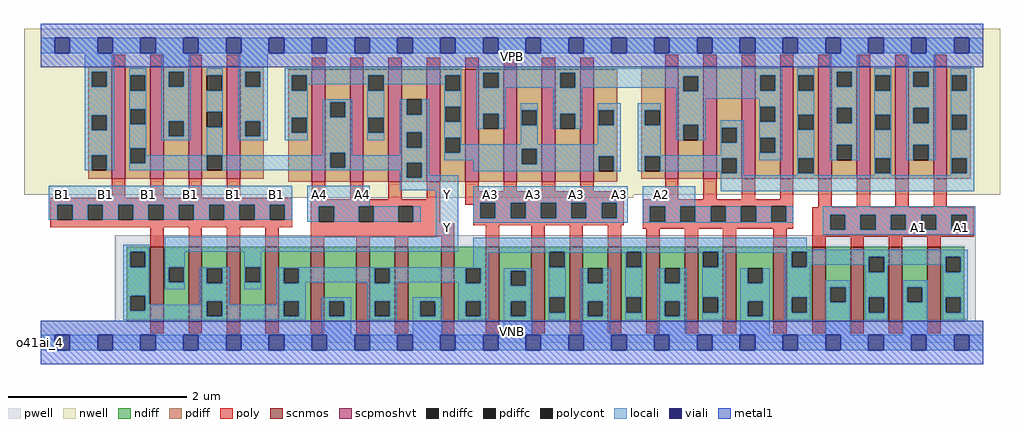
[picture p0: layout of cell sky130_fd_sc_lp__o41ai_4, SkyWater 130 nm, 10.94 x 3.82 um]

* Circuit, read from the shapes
.subckt sky130_fd_sc_lp__o41ai_4 A1 A2 A3 A4 B1 VGND VNB VPB VPWR Y
XM1 Y B1 n1 VNB sky130_fd_pr__nfet_01v8 w=0.84 l=0.15 m=4
XM2 VGND A4 n1 VNB sky130_fd_pr__nfet_01v8 w=0.84 l=0.15 m=4
XM3 VGND A3 n1 VNB sky130_fd_pr__nfet_01v8 w=0.84 l=0.15 m=4
XM4 VGND A2 n1 VNB sky130_fd_pr__nfet_01v8 w=0.84 l=0.15 m=4
XM5 VGND A1 n1 VNB sky130_fd_pr__nfet_01v8 w=0.84 l=0.15 m=4
XM6 Y B1 VPWR VPB sky130_fd_pr__pfet_01v8_hvt w=1.26 l=0.15 m=4
XM7 Y A4 n2 VPB sky130_fd_pr__pfet_01v8_hvt w=1.26 l=0.15 m=4
XM8 n3 A3 n2 VPB sky130_fd_pr__pfet_01v8_hvt w=1.26 l=0.15 m=4
XM9 n3 A2 n4 VPB sky130_fd_pr__pfet_01v8_hvt w=1.26 l=0.15 m=4
XM10 VPWR A1 n4 VPB sky130_fd_pr__pfet_01v8_hvt w=1.26 l=0.15 m=4
.ends

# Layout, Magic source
magic
tech sky130A
magscale 1 2
<< nwell >>
rect -38 331 2150 704
rect 518 325 1328 331
<< pwell >>
rect 166 49 2096 241
rect 0 0 2112 49
<< scnmos >>
rect 245 47 275 215
rect 331 47 361 215
rect 417 47 447 215
rect 503 47 533 215
rect 605 47 635 215
rect 707 47 737 215
rect 793 47 823 215
rect 897 47 927 215
rect 997 47 1027 215
rect 1099 47 1129 215
rect 1185 47 1215 215
rect 1271 47 1301 215
rect 1357 47 1387 215
rect 1443 47 1473 215
rect 1529 47 1559 215
rect 1642 47 1672 215
rect 1729 47 1759 215
rect 1815 47 1845 215
rect 1901 47 1931 215
rect 1987 47 2017 215
<< scpmoshvt >>
rect 159 367 189 619
rect 245 367 275 619
rect 331 367 361 619
rect 417 367 447 619
rect 607 361 637 613
rect 693 361 723 613
rect 779 361 809 613
rect 865 361 895 613
rect 951 361 981 613
rect 1037 361 1067 613
rect 1123 361 1153 613
rect 1209 361 1239 613
rect 1399 367 1429 619
rect 1485 367 1515 619
rect 1571 367 1601 619
rect 1657 367 1687 619
rect 1743 367 1773 619
rect 1829 367 1859 619
rect 1915 367 1945 619
rect 2001 367 2031 619
<< ndiff >>
rect 192 203 245 215
rect 192 169 200 203
rect 234 169 245 203
rect 192 105 245 169
rect 192 71 200 105
rect 234 71 245 105
rect 192 47 245 71
rect 275 169 331 215
rect 275 135 286 169
rect 320 135 331 169
rect 275 47 331 135
rect 361 167 417 215
rect 361 133 372 167
rect 406 133 417 167
rect 361 93 417 133
rect 361 59 372 93
rect 406 59 417 93
rect 361 47 417 59
rect 447 169 503 215
rect 447 135 458 169
rect 492 135 503 169
rect 447 47 503 135
rect 533 167 605 215
rect 533 133 544 167
rect 578 133 605 167
rect 533 93 605 133
rect 533 59 544 93
rect 578 59 605 93
rect 533 47 605 59
rect 635 93 707 215
rect 635 59 646 93
rect 680 59 707 93
rect 635 47 707 59
rect 737 167 793 215
rect 737 133 748 167
rect 782 133 793 167
rect 737 93 793 133
rect 737 59 748 93
rect 782 59 793 93
rect 737 47 793 59
rect 823 93 897 215
rect 823 59 850 93
rect 884 59 897 93
rect 823 47 897 59
rect 927 167 997 215
rect 927 133 952 167
rect 986 133 997 167
rect 927 93 997 133
rect 927 59 952 93
rect 986 59 997 93
rect 927 47 997 59
rect 1027 161 1099 215
rect 1027 127 1053 161
rect 1087 127 1099 161
rect 1027 93 1099 127
rect 1027 59 1053 93
rect 1087 59 1099 93
rect 1027 47 1099 59
rect 1129 203 1185 215
rect 1129 169 1140 203
rect 1174 169 1185 203
rect 1129 101 1185 169
rect 1129 67 1140 101
rect 1174 67 1185 101
rect 1129 47 1185 67
rect 1215 167 1271 215
rect 1215 133 1226 167
rect 1260 133 1271 167
rect 1215 93 1271 133
rect 1215 59 1226 93
rect 1260 59 1271 93
rect 1215 47 1271 59
rect 1301 203 1357 215
rect 1301 169 1312 203
rect 1346 169 1357 203
rect 1301 101 1357 169
rect 1301 67 1312 101
rect 1346 67 1357 101
rect 1301 47 1357 67
rect 1387 167 1443 215
rect 1387 133 1398 167
rect 1432 133 1443 167
rect 1387 93 1443 133
rect 1387 59 1398 93
rect 1432 59 1443 93
rect 1387 47 1443 59
rect 1473 203 1529 215
rect 1473 169 1484 203
rect 1518 169 1529 203
rect 1473 101 1529 169
rect 1473 67 1484 101
rect 1518 67 1529 101
rect 1473 47 1529 67
rect 1559 167 1642 215
rect 1559 133 1584 167
rect 1618 133 1642 167
rect 1559 93 1642 133
rect 1559 59 1584 93
rect 1618 59 1642 93
rect 1559 47 1642 59
rect 1672 203 1729 215
rect 1672 169 1683 203
rect 1717 169 1729 203
rect 1672 101 1729 169
rect 1672 67 1683 101
rect 1717 67 1729 101
rect 1672 47 1729 67
rect 1759 124 1815 215
rect 1759 90 1770 124
rect 1804 90 1815 124
rect 1759 47 1815 90
rect 1845 192 1901 215
rect 1845 158 1856 192
rect 1890 158 1901 192
rect 1845 101 1901 158
rect 1845 67 1856 101
rect 1890 67 1901 101
rect 1845 47 1901 67
rect 1931 124 1987 215
rect 1931 90 1942 124
rect 1976 90 1987 124
rect 1931 47 1987 90
rect 2017 192 2070 215
rect 2017 158 2028 192
rect 2062 158 2070 192
rect 2017 101 2070 158
rect 2017 67 2028 101
rect 2062 67 2070 101
rect 2017 47 2070 67
<< pdiff >>
rect 106 607 159 619
rect 106 573 114 607
rect 148 573 159 607
rect 106 510 159 573
rect 106 476 114 510
rect 148 476 159 510
rect 106 420 159 476
rect 106 386 114 420
rect 148 386 159 420
rect 106 367 159 386
rect 189 599 245 619
rect 189 565 200 599
rect 234 565 245 599
rect 189 523 245 565
rect 189 489 200 523
rect 234 489 245 523
rect 189 436 245 489
rect 189 402 200 436
rect 234 402 245 436
rect 189 367 245 402
rect 275 607 331 619
rect 275 573 286 607
rect 320 573 331 607
rect 275 496 331 573
rect 275 462 286 496
rect 320 462 331 496
rect 275 367 331 462
rect 361 599 417 619
rect 361 565 372 599
rect 406 565 417 599
rect 361 517 417 565
rect 361 483 372 517
rect 406 483 417 517
rect 361 420 417 483
rect 361 386 372 420
rect 406 386 417 420
rect 361 367 417 386
rect 447 607 500 619
rect 447 573 458 607
rect 492 573 500 607
rect 447 496 500 573
rect 447 462 458 496
rect 492 462 500 496
rect 447 367 500 462
rect 554 599 607 613
rect 554 565 562 599
rect 596 565 607 599
rect 554 504 607 565
rect 554 470 562 504
rect 596 470 607 504
rect 554 361 607 470
rect 637 539 693 613
rect 637 505 648 539
rect 682 505 693 539
rect 637 426 693 505
rect 637 392 648 426
rect 682 392 693 426
rect 637 361 693 392
rect 723 599 779 613
rect 723 565 734 599
rect 768 565 779 599
rect 723 504 779 565
rect 723 470 734 504
rect 768 470 779 504
rect 723 361 779 470
rect 809 545 865 613
rect 809 511 820 545
rect 854 511 865 545
rect 809 471 865 511
rect 809 437 820 471
rect 854 437 865 471
rect 809 403 865 437
rect 809 369 820 403
rect 854 369 865 403
rect 809 361 865 369
rect 895 599 951 613
rect 895 565 906 599
rect 940 565 951 599
rect 895 529 951 565
rect 895 495 906 529
rect 940 495 951 529
rect 895 459 951 495
rect 895 425 906 459
rect 940 425 951 459
rect 895 361 951 425
rect 981 605 1037 613
rect 981 571 992 605
rect 1026 571 1037 605
rect 981 513 1037 571
rect 981 479 992 513
rect 1026 479 1037 513
rect 981 361 1037 479
rect 1067 521 1123 613
rect 1067 487 1078 521
rect 1112 487 1123 521
rect 1067 434 1123 487
rect 1067 400 1078 434
rect 1112 400 1123 434
rect 1067 361 1123 400
rect 1153 605 1209 613
rect 1153 571 1164 605
rect 1198 571 1209 605
rect 1153 513 1209 571
rect 1153 479 1164 513
rect 1198 479 1209 513
rect 1153 361 1209 479
rect 1239 521 1292 613
rect 1239 487 1250 521
rect 1284 487 1292 521
rect 1239 418 1292 487
rect 1239 384 1250 418
rect 1284 384 1292 418
rect 1239 361 1292 384
rect 1346 521 1399 619
rect 1346 487 1354 521
rect 1388 487 1399 521
rect 1346 418 1399 487
rect 1346 384 1354 418
rect 1388 384 1399 418
rect 1346 367 1399 384
rect 1429 597 1485 619
rect 1429 563 1440 597
rect 1474 563 1485 597
rect 1429 488 1485 563
rect 1429 454 1440 488
rect 1474 454 1485 488
rect 1429 367 1485 454
rect 1515 482 1571 619
rect 1515 448 1526 482
rect 1560 448 1571 482
rect 1515 413 1571 448
rect 1515 379 1526 413
rect 1560 379 1571 413
rect 1515 367 1571 379
rect 1601 599 1657 619
rect 1601 565 1612 599
rect 1646 565 1657 599
rect 1601 529 1657 565
rect 1601 495 1612 529
rect 1646 495 1657 529
rect 1601 459 1657 495
rect 1601 425 1612 459
rect 1646 425 1657 459
rect 1601 367 1657 425
rect 1687 599 1743 619
rect 1687 565 1698 599
rect 1732 565 1743 599
rect 1687 511 1743 565
rect 1687 477 1698 511
rect 1732 477 1743 511
rect 1687 413 1743 477
rect 1687 379 1698 413
rect 1732 379 1743 413
rect 1687 367 1743 379
rect 1773 607 1829 619
rect 1773 573 1784 607
rect 1818 573 1829 607
rect 1773 526 1829 573
rect 1773 492 1784 526
rect 1818 492 1829 526
rect 1773 443 1829 492
rect 1773 409 1784 443
rect 1818 409 1829 443
rect 1773 367 1829 409
rect 1859 599 1915 619
rect 1859 565 1870 599
rect 1904 565 1915 599
rect 1859 511 1915 565
rect 1859 477 1870 511
rect 1904 477 1915 511
rect 1859 413 1915 477
rect 1859 379 1870 413
rect 1904 379 1915 413
rect 1859 367 1915 379
rect 1945 607 2001 619
rect 1945 573 1956 607
rect 1990 573 2001 607
rect 1945 526 2001 573
rect 1945 492 1956 526
rect 1990 492 2001 526
rect 1945 443 2001 492
rect 1945 409 1956 443
rect 1990 409 2001 443
rect 1945 367 2001 409
rect 2031 599 2084 619
rect 2031 565 2042 599
rect 2076 565 2084 599
rect 2031 511 2084 565
rect 2031 477 2042 511
rect 2076 477 2084 511
rect 2031 413 2084 477
rect 2031 379 2042 413
rect 2076 379 2084 413
rect 2031 367 2084 379
<< ndiffc >>
rect 200 169 234 203
rect 200 71 234 105
rect 286 135 320 169
rect 372 133 406 167
rect 372 59 406 93
rect 458 135 492 169
rect 544 133 578 167
rect 544 59 578 93
rect 646 59 680 93
rect 748 133 782 167
rect 748 59 782 93
rect 850 59 884 93
rect 952 133 986 167
rect 952 59 986 93
rect 1053 127 1087 161
rect 1053 59 1087 93
rect 1140 169 1174 203
rect 1140 67 1174 101
rect 1226 133 1260 167
rect 1226 59 1260 93
rect 1312 169 1346 203
rect 1312 67 1346 101
rect 1398 133 1432 167
rect 1398 59 1432 93
rect 1484 169 1518 203
rect 1484 67 1518 101
rect 1584 133 1618 167
rect 1584 59 1618 93
rect 1683 169 1717 203
rect 1683 67 1717 101
rect 1770 90 1804 124
rect 1856 158 1890 192
rect 1856 67 1890 101
rect 1942 90 1976 124
rect 2028 158 2062 192
rect 2028 67 2062 101
<< pdiffc >>
rect 114 573 148 607
rect 114 476 148 510
rect 114 386 148 420
rect 200 565 234 599
rect 200 489 234 523
rect 200 402 234 436
rect 286 573 320 607
rect 286 462 320 496
rect 372 565 406 599
rect 372 483 406 517
rect 372 386 406 420
rect 458 573 492 607
rect 458 462 492 496
rect 562 565 596 599
rect 562 470 596 504
rect 648 505 682 539
rect 648 392 682 426
rect 734 565 768 599
rect 734 470 768 504
rect 820 511 854 545
rect 820 437 854 471
rect 820 369 854 403
rect 906 565 940 599
rect 906 495 940 529
rect 906 425 940 459
rect 992 571 1026 605
rect 992 479 1026 513
rect 1078 487 1112 521
rect 1078 400 1112 434
rect 1164 571 1198 605
rect 1164 479 1198 513
rect 1250 487 1284 521
rect 1250 384 1284 418
rect 1354 487 1388 521
rect 1354 384 1388 418
rect 1440 563 1474 597
rect 1440 454 1474 488
rect 1526 448 1560 482
rect 1526 379 1560 413
rect 1612 565 1646 599
rect 1612 495 1646 529
rect 1612 425 1646 459
rect 1698 565 1732 599
rect 1698 477 1732 511
rect 1698 379 1732 413
rect 1784 573 1818 607
rect 1784 492 1818 526
rect 1784 409 1818 443
rect 1870 565 1904 599
rect 1870 477 1904 511
rect 1870 379 1904 413
rect 1956 573 1990 607
rect 1956 492 1990 526
rect 1956 409 1990 443
rect 2042 565 2076 599
rect 2042 477 2076 511
rect 2042 379 2076 413
<< poly >>
rect 159 619 189 645
rect 245 619 275 645
rect 331 619 361 645
rect 417 619 447 645
rect 607 613 637 639
rect 693 613 723 639
rect 779 613 809 639
rect 865 613 895 639
rect 951 613 981 639
rect 1037 613 1067 639
rect 1123 613 1153 639
rect 1209 613 1239 639
rect 1399 619 1429 645
rect 1485 619 1515 645
rect 1571 619 1601 645
rect 1657 619 1687 645
rect 1743 619 1773 645
rect 1829 619 1859 645
rect 1915 619 1945 645
rect 2001 619 2031 645
rect 159 325 189 367
rect 245 325 275 367
rect 331 325 361 367
rect 417 325 447 367
rect 21 309 563 325
rect 607 321 637 361
rect 693 321 723 361
rect 779 321 809 361
rect 865 321 895 361
rect 21 275 37 309
rect 71 275 105 309
rect 139 275 173 309
rect 207 275 241 309
rect 275 275 309 309
rect 343 275 377 309
rect 411 275 445 309
rect 479 275 513 309
rect 547 275 563 309
rect 21 259 563 275
rect 605 305 895 321
rect 951 339 981 361
rect 1037 339 1067 361
rect 1123 339 1153 361
rect 1209 339 1239 361
rect 951 313 1307 339
rect 1399 321 1429 367
rect 1485 321 1515 367
rect 1571 321 1601 367
rect 1657 321 1687 367
rect 951 309 985 313
rect 605 271 623 305
rect 657 271 712 305
rect 746 271 801 305
rect 835 271 895 305
rect 605 267 895 271
rect 969 279 985 309
rect 1019 279 1053 313
rect 1087 279 1121 313
rect 1155 279 1189 313
rect 1223 279 1257 313
rect 1291 279 1307 313
rect 245 215 275 259
rect 331 215 361 259
rect 417 215 447 259
rect 503 215 533 259
rect 605 237 927 267
rect 969 263 1307 279
rect 1349 305 1687 321
rect 1349 271 1365 305
rect 1399 271 1433 305
rect 1467 271 1501 305
rect 1535 271 1569 305
rect 1603 271 1637 305
rect 1671 271 1687 305
rect 1743 303 1773 367
rect 1829 303 1859 367
rect 1915 303 1945 367
rect 2001 303 2031 367
rect 605 215 635 237
rect 707 215 737 237
rect 793 215 823 237
rect 897 215 927 237
rect 997 215 1027 263
rect 1099 215 1129 263
rect 1185 215 1215 263
rect 1271 215 1301 263
rect 1349 255 1687 271
rect 1729 287 2091 303
rect 1357 215 1387 255
rect 1443 215 1473 255
rect 1529 215 1559 255
rect 1642 215 1672 255
rect 1729 253 1769 287
rect 1803 253 1837 287
rect 1871 253 1905 287
rect 1939 253 1973 287
rect 2007 253 2041 287
rect 2075 253 2091 287
rect 1729 237 2091 253
rect 1729 215 1759 237
rect 1815 215 1845 237
rect 1901 215 1931 237
rect 1987 215 2017 237
rect 245 21 275 47
rect 331 21 361 47
rect 417 21 447 47
rect 503 21 533 47
rect 605 21 635 47
rect 707 21 737 47
rect 793 21 823 47
rect 897 21 927 47
rect 997 21 1027 47
rect 1099 21 1129 47
rect 1185 21 1215 47
rect 1271 21 1301 47
rect 1357 21 1387 47
rect 1443 21 1473 47
rect 1529 21 1559 47
rect 1642 21 1672 47
rect 1729 21 1759 47
rect 1815 21 1845 47
rect 1901 21 1931 47
rect 1987 21 2017 47
<< polycont >>
rect 37 275 71 309
rect 105 275 139 309
rect 173 275 207 309
rect 241 275 275 309
rect 309 275 343 309
rect 377 275 411 309
rect 445 275 479 309
rect 513 275 547 309
rect 623 271 657 305
rect 712 271 746 305
rect 801 271 835 305
rect 985 279 1019 313
rect 1053 279 1087 313
rect 1121 279 1155 313
rect 1189 279 1223 313
rect 1257 279 1291 313
rect 1365 271 1399 305
rect 1433 271 1467 305
rect 1501 271 1535 305
rect 1569 271 1603 305
rect 1637 271 1671 305
rect 1769 253 1803 287
rect 1837 253 1871 287
rect 1905 253 1939 287
rect 1973 253 2007 287
rect 2041 253 2075 287
<< locali >>
rect 0 649 31 683
rect 65 649 127 683
rect 161 649 223 683
rect 257 649 319 683
rect 353 649 415 683
rect 449 649 511 683
rect 545 649 607 683
rect 641 649 703 683
rect 737 649 799 683
rect 833 649 895 683
rect 929 649 991 683
rect 1025 649 1087 683
rect 1121 649 1183 683
rect 1217 649 1279 683
rect 1313 649 1375 683
rect 1409 649 1471 683
rect 1505 649 1567 683
rect 1601 649 1663 683
rect 1697 649 1759 683
rect 1793 649 1855 683
rect 1889 649 1951 683
rect 1985 649 2047 683
rect 2081 649 2112 683
rect 98 607 164 649
rect 98 573 114 607
rect 148 573 164 607
rect 98 510 164 573
rect 98 476 114 510
rect 148 476 164 510
rect 98 420 164 476
rect 98 386 114 420
rect 148 386 164 420
rect 198 599 236 615
rect 198 565 200 599
rect 234 565 236 599
rect 198 523 236 565
rect 198 489 200 523
rect 234 489 236 523
rect 198 436 236 489
rect 270 607 336 649
rect 270 573 286 607
rect 320 573 336 607
rect 270 496 336 573
rect 270 462 286 496
rect 320 462 336 496
rect 270 454 336 462
rect 372 599 408 615
rect 406 565 408 599
rect 372 517 408 565
rect 406 483 408 517
rect 198 402 200 436
rect 234 420 236 436
rect 372 420 408 483
rect 442 607 508 649
rect 442 573 458 607
rect 492 573 508 607
rect 442 496 508 573
rect 442 462 458 496
rect 492 462 508 496
rect 442 454 508 462
rect 546 599 942 615
rect 546 565 562 599
rect 596 579 734 599
rect 596 565 598 579
rect 546 504 598 565
rect 732 565 734 579
rect 768 579 906 599
rect 768 565 770 579
rect 546 470 562 504
rect 596 470 598 504
rect 546 454 598 470
rect 632 539 698 545
rect 632 505 648 539
rect 682 505 698 539
rect 632 426 698 505
rect 732 504 770 565
rect 904 565 906 579
rect 940 565 942 599
rect 732 470 734 504
rect 768 470 770 504
rect 732 454 770 470
rect 804 511 820 545
rect 854 511 870 545
rect 804 471 870 511
rect 632 420 648 426
rect 234 402 372 420
rect 198 386 372 402
rect 406 392 648 420
rect 682 420 698 426
rect 804 437 820 471
rect 854 437 870 471
rect 804 420 870 437
rect 682 403 870 420
rect 904 529 942 565
rect 904 495 906 529
rect 940 495 942 529
rect 904 459 942 495
rect 976 605 1662 615
rect 976 571 992 605
rect 1026 571 1164 605
rect 1198 599 1662 605
rect 1198 597 1612 599
rect 1198 571 1440 597
rect 976 513 1042 571
rect 976 479 992 513
rect 1026 479 1042 513
rect 1076 521 1114 537
rect 1076 487 1078 521
rect 1112 487 1114 521
rect 904 425 906 459
rect 940 445 942 459
rect 1076 445 1114 487
rect 1148 513 1214 571
rect 1424 563 1440 571
rect 1474 565 1612 597
rect 1646 565 1662 599
rect 1474 563 1662 565
rect 1424 547 1662 563
rect 1148 479 1164 513
rect 1198 479 1214 513
rect 1248 521 1300 537
rect 1248 487 1250 521
rect 1284 487 1300 521
rect 1248 445 1300 487
rect 940 434 1300 445
rect 940 425 1078 434
rect 904 409 1078 425
rect 682 392 820 403
rect 406 386 820 392
rect 804 369 820 386
rect 854 375 870 403
rect 969 400 1078 409
rect 1112 418 1300 434
rect 1112 400 1250 418
rect 969 384 1250 400
rect 1284 384 1300 418
rect 1338 521 1390 537
rect 1338 487 1354 521
rect 1388 487 1390 521
rect 1338 420 1390 487
rect 1424 488 1490 547
rect 1610 529 1662 547
rect 1424 454 1440 488
rect 1474 454 1490 488
rect 1524 482 1576 498
rect 1524 448 1526 482
rect 1560 448 1576 482
rect 1524 420 1576 448
rect 1338 418 1576 420
rect 1338 384 1354 418
rect 1388 413 1576 418
rect 1388 384 1526 413
rect 1524 379 1526 384
rect 1560 379 1576 413
rect 1610 495 1612 529
rect 1646 495 1662 529
rect 1610 459 1662 495
rect 1610 425 1612 459
rect 1646 425 1662 459
rect 1610 409 1662 425
rect 1696 599 1734 615
rect 1696 565 1698 599
rect 1732 565 1734 599
rect 1696 511 1734 565
rect 1696 477 1698 511
rect 1732 477 1734 511
rect 1696 413 1734 477
rect 1524 375 1576 379
rect 1696 379 1698 413
rect 1732 379 1734 413
rect 1768 607 1834 649
rect 1768 573 1784 607
rect 1818 573 1834 607
rect 1768 526 1834 573
rect 1768 492 1784 526
rect 1818 492 1834 526
rect 1768 443 1834 492
rect 1768 409 1784 443
rect 1818 409 1834 443
rect 1868 599 1906 615
rect 1868 565 1870 599
rect 1904 565 1906 599
rect 1868 511 1906 565
rect 1868 477 1870 511
rect 1904 477 1906 511
rect 1868 413 1906 477
rect 1696 375 1734 379
rect 1868 379 1870 413
rect 1904 379 1906 413
rect 1940 607 2006 649
rect 1940 573 1956 607
rect 1990 573 2006 607
rect 1940 526 2006 573
rect 1940 492 1956 526
rect 1990 492 2006 526
rect 1940 443 2006 492
rect 1940 409 1956 443
rect 1990 409 2006 443
rect 2040 599 2092 615
rect 2040 565 2042 599
rect 2076 565 2092 599
rect 2040 511 2092 565
rect 2040 477 2042 511
rect 2076 477 2092 511
rect 2040 413 2092 477
rect 1868 375 1906 379
rect 2040 379 2042 413
rect 2076 379 2092 413
rect 2040 375 2092 379
rect 854 369 935 375
rect 17 309 563 352
rect 17 275 37 309
rect 71 275 105 309
rect 139 275 173 309
rect 207 275 241 309
rect 275 275 309 309
rect 343 275 377 309
rect 411 275 445 309
rect 479 275 513 309
rect 547 275 563 309
rect 597 305 737 352
rect 804 341 935 369
rect 597 271 623 305
rect 657 271 712 305
rect 746 271 801 305
rect 835 271 851 305
rect 885 237 935 341
rect 969 313 1315 350
rect 969 279 985 313
rect 1019 279 1053 313
rect 1087 279 1121 313
rect 1155 279 1189 313
rect 1223 279 1257 313
rect 1291 279 1315 313
rect 969 269 1315 279
rect 1349 305 1467 350
rect 1524 339 2092 375
rect 1349 271 1365 305
rect 1399 271 1433 305
rect 1467 271 1501 305
rect 1535 271 1569 305
rect 1603 271 1637 305
rect 1671 271 1687 305
rect 1349 269 1687 271
rect 1753 287 2095 305
rect 1753 253 1769 287
rect 1803 253 1837 287
rect 1871 253 1905 287
rect 1939 253 1973 287
rect 2007 253 2041 287
rect 2075 253 2095 287
rect 1753 242 2095 253
rect 184 203 243 219
rect 184 169 200 203
rect 234 169 243 203
rect 184 105 243 169
rect 277 203 935 237
rect 969 208 1717 235
rect 969 203 2078 208
rect 277 169 322 203
rect 456 169 494 203
rect 969 201 1140 203
rect 969 169 1003 201
rect 277 135 286 169
rect 320 135 322 169
rect 277 119 322 135
rect 356 167 422 169
rect 356 133 372 167
rect 406 133 422 167
rect 184 71 200 105
rect 234 85 243 105
rect 356 93 422 133
rect 456 135 458 169
rect 492 135 494 169
rect 456 119 494 135
rect 528 167 1003 169
rect 1138 169 1140 201
rect 1174 201 1312 203
rect 1174 169 1176 201
rect 528 133 544 167
rect 578 135 748 167
rect 578 133 594 135
rect 356 85 372 93
rect 234 71 372 85
rect 184 59 372 71
rect 406 85 422 93
rect 528 93 594 133
rect 732 133 748 135
rect 782 135 952 167
rect 782 133 798 135
rect 528 85 544 93
rect 406 59 544 85
rect 578 59 594 93
rect 184 51 594 59
rect 630 93 696 101
rect 630 59 646 93
rect 680 59 696 93
rect 630 17 696 59
rect 732 93 798 133
rect 936 133 952 135
rect 986 133 1003 167
rect 732 59 748 93
rect 782 59 798 93
rect 732 51 798 59
rect 834 93 900 101
rect 834 59 850 93
rect 884 59 900 93
rect 834 17 900 59
rect 936 93 1003 133
rect 936 59 952 93
rect 986 59 1003 93
rect 936 51 1003 59
rect 1037 161 1103 167
rect 1037 127 1053 161
rect 1087 127 1103 161
rect 1037 93 1103 127
rect 1037 59 1053 93
rect 1087 59 1103 93
rect 1037 17 1103 59
rect 1138 101 1176 169
rect 1310 169 1312 201
rect 1346 201 1484 203
rect 1346 169 1348 201
rect 1138 67 1140 101
rect 1174 67 1176 101
rect 1138 51 1176 67
rect 1210 133 1226 167
rect 1260 133 1276 167
rect 1210 93 1276 133
rect 1210 59 1226 93
rect 1260 59 1276 93
rect 1210 17 1276 59
rect 1310 101 1348 169
rect 1482 169 1484 201
rect 1518 201 1683 203
rect 1518 169 1534 201
rect 1310 67 1312 101
rect 1346 67 1348 101
rect 1310 51 1348 67
rect 1382 133 1398 167
rect 1432 133 1448 167
rect 1382 93 1448 133
rect 1382 59 1398 93
rect 1432 59 1448 93
rect 1382 17 1448 59
rect 1482 101 1534 169
rect 1668 169 1683 201
rect 1717 192 2078 203
rect 1717 174 1856 192
rect 1717 169 1725 174
rect 1482 67 1484 101
rect 1518 67 1534 101
rect 1482 51 1534 67
rect 1568 133 1584 167
rect 1618 133 1634 167
rect 1568 93 1634 133
rect 1568 59 1584 93
rect 1618 59 1634 93
rect 1568 17 1634 59
rect 1668 101 1725 169
rect 1848 158 1856 174
rect 1890 174 2028 192
rect 1890 158 1898 174
rect 1668 67 1683 101
rect 1717 67 1725 101
rect 1668 51 1725 67
rect 1759 124 1814 140
rect 1759 90 1770 124
rect 1804 90 1814 124
rect 1759 17 1814 90
rect 1848 101 1898 158
rect 2022 158 2028 174
rect 2062 158 2078 192
rect 1848 67 1856 101
rect 1890 67 1898 101
rect 1848 51 1898 67
rect 1932 124 1988 140
rect 1932 90 1942 124
rect 1976 90 1988 124
rect 1932 17 1988 90
rect 2022 101 2078 158
rect 2022 67 2028 101
rect 2062 67 2078 101
rect 2022 51 2078 67
rect 0 -17 31 17
rect 65 -17 127 17
rect 161 -17 223 17
rect 257 -17 319 17
rect 353 -17 415 17
rect 449 -17 511 17
rect 545 -17 607 17
rect 641 -17 703 17
rect 737 -17 799 17
rect 833 -17 895 17
rect 929 -17 991 17
rect 1025 -17 1087 17
rect 1121 -17 1183 17
rect 1217 -17 1279 17
rect 1313 -17 1375 17
rect 1409 -17 1471 17
rect 1505 -17 1567 17
rect 1601 -17 1663 17
rect 1697 -17 1759 17
rect 1793 -17 1855 17
rect 1889 -17 1951 17
rect 1985 -17 2047 17
rect 2081 -17 2112 17
<< viali >>
rect 31 649 65 683
rect 127 649 161 683
rect 223 649 257 683
rect 319 649 353 683
rect 415 649 449 683
rect 511 649 545 683
rect 607 649 641 683
rect 703 649 737 683
rect 799 649 833 683
rect 895 649 929 683
rect 991 649 1025 683
rect 1087 649 1121 683
rect 1183 649 1217 683
rect 1279 649 1313 683
rect 1375 649 1409 683
rect 1471 649 1505 683
rect 1567 649 1601 683
rect 1663 649 1697 683
rect 1759 649 1793 683
rect 1855 649 1889 683
rect 1951 649 1985 683
rect 2047 649 2081 683
rect 31 -17 65 17
rect 127 -17 161 17
rect 223 -17 257 17
rect 319 -17 353 17
rect 415 -17 449 17
rect 511 -17 545 17
rect 607 -17 641 17
rect 703 -17 737 17
rect 799 -17 833 17
rect 895 -17 929 17
rect 991 -17 1025 17
rect 1087 -17 1121 17
rect 1183 -17 1217 17
rect 1279 -17 1313 17
rect 1375 -17 1409 17
rect 1471 -17 1505 17
rect 1567 -17 1601 17
rect 1663 -17 1697 17
rect 1759 -17 1793 17
rect 1855 -17 1889 17
rect 1951 -17 1985 17
rect 2047 -17 2081 17
<< metal1 >>
rect 0 683 2112 715
rect 0 649 31 683
rect 65 649 127 683
rect 161 649 223 683
rect 257 649 319 683
rect 353 649 415 683
rect 449 649 511 683
rect 545 649 607 683
rect 641 649 703 683
rect 737 649 799 683
rect 833 649 895 683
rect 929 649 991 683
rect 1025 649 1087 683
rect 1121 649 1183 683
rect 1217 649 1279 683
rect 1313 649 1375 683
rect 1409 649 1471 683
rect 1505 649 1567 683
rect 1601 649 1663 683
rect 1697 649 1759 683
rect 1793 649 1855 683
rect 1889 649 1951 683
rect 1985 649 2047 683
rect 2081 649 2112 683
rect 0 617 2112 649
rect 0 17 2112 49
rect 0 -17 31 17
rect 65 -17 127 17
rect 161 -17 223 17
rect 257 -17 319 17
rect 353 -17 415 17
rect 449 -17 511 17
rect 545 -17 607 17
rect 641 -17 703 17
rect 737 -17 799 17
rect 833 -17 895 17
rect 929 -17 991 17
rect 1025 -17 1087 17
rect 1121 -17 1183 17
rect 1217 -17 1279 17
rect 1313 -17 1375 17
rect 1409 -17 1471 17
rect 1505 -17 1567 17
rect 1601 -17 1663 17
rect 1697 -17 1759 17
rect 1793 -17 1855 17
rect 1889 -17 1951 17
rect 1985 -17 2047 17
rect 2081 -17 2112 17
rect 0 -49 2112 -17
<< labels >>
flabel pwell s 0 0 2112 49 0 FreeSans 200 0 0 0 VNB
port 7 nsew ground bidirectional
flabel nwell s 0 617 2112 666 0 FreeSans 200 0 0 0 VPB
port 8 nsew power bidirectional
rlabel comment s 0 0 0 0 4 o41ai_4
flabel metal1 s 0 617 2112 666 0 FreeSans 340 0 0 0 VPWR
port 9 nsew power bidirectional
flabel metal1 s 0 0 2112 49 0 FreeSans 340 0 0 0 VGND
port 6 nsew ground bidirectional
flabel locali s 1951 242 1985 276 0 FreeSans 340 0 0 0 A1
port 1 nsew signal input
flabel locali s 2047 242 2081 276 0 FreeSans 340 0 0 0 A1
port 1 nsew signal input
flabel locali s 1375 316 1409 350 0 FreeSans 340 0 0 0 A2
port 2 nsew signal input
flabel locali s 991 316 1025 350 0 FreeSans 340 0 0 0 A3
port 3 nsew signal input
flabel locali s 1087 316 1121 350 0 FreeSans 340 0 0 0 A3
port 3 nsew signal input
flabel locali s 1183 316 1217 350 0 FreeSans 340 0 0 0 A3
port 3 nsew signal input
flabel locali s 1279 316 1313 350 0 FreeSans 340 0 0 0 A3
port 3 nsew signal input
flabel locali s 607 316 641 350 0 FreeSans 340 0 0 0 A4
port 4 nsew signal input
flabel locali s 703 316 737 350 0 FreeSans 340 0 0 0 A4
port 4 nsew signal input
flabel locali s 31 316 65 350 0 FreeSans 340 0 0 0 B1
port 5 nsew signal input
flabel locali s 127 316 161 350 0 FreeSans 340 0 0 0 B1
port 5 nsew signal input
flabel locali s 223 316 257 350 0 FreeSans 340 0 0 0 B1
port 5 nsew signal input
flabel locali s 319 316 353 350 0 FreeSans 340 0 0 0 B1
port 5 nsew signal input
flabel locali s 415 316 449 350 0 FreeSans 340 0 0 0 B1
port 5 nsew signal input
flabel locali s 511 316 545 350 0 FreeSans 340 0 0 0 B1
port 5 nsew signal input
flabel locali s 895 242 929 276 0 FreeSans 340 0 0 0 Y
port 10 nsew signal output
flabel locali s 895 316 929 350 0 FreeSans 340 0 0 0 Y
port 10 nsew signal output
<< properties >>
string LEFsite unit
string LEFclass CORE
string FIXED_BBOX 0 0 2112 666
string GDS_FILE $PDKPATH/libs.ref/sky130_fd_sc_lp/gds/sky130_fd_sc_lp.gds
string LEFsymmetry X Y R90
string GDS_END 6574754
string GDS_START 6556806
<< end >>
